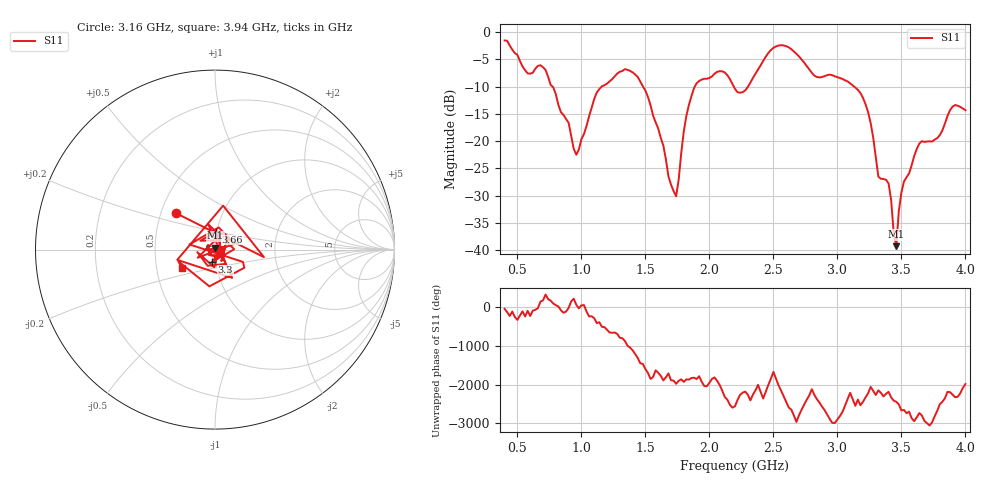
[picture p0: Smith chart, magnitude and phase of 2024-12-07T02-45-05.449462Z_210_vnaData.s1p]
!Created with skrf (http://scikit-rf.org).
# Hz S RI R 50.0
!freq ReS11 ImS11
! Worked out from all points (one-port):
!   181 points, 400 MHz to 4 GHz, reference 50 ohm
!   lowest |S11| = -39.2 dB at 3.46 GHz (marker M1), VSWR 1.02, Z = 50.2 + j1.08 ohm
!   |S11| at or under -10 dB: 774.2 MHz to 1.158 GHz (383.5 MHz wide, 39.7 % of centre); 1.481 GHz to 1.886 GHz (404.8 MHz wide, 24 % of centre); 3.131 GHz to end of sweep (the widest 3 of 4)
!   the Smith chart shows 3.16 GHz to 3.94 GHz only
!   S11 on the Smith chart (normalised r, x): 3.16 GHz: 0.60, +0.27; 3.3 GHz: 0.96, -0.13; 3.66 GHz: 0.99, +0.20; 3.94 GHz: 0.68, -0.15
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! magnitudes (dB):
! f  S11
! 400 MHz  -1.5
! 580 MHz  -7.6
! 720 MHz  -6.9
! 860 MHz  -15.2
! 960 MHz  -22.5
! 1.12 GHz  -11.1
! 1.3 GHz  -7.3
! 1.5 GHz  -10.7
! 1.7 GHz  -28.0
! 1.74 GHz  -30.1
! 1.76 GHz  -27.1
! 1.82 GHz  -15.4
! 1.9 GHz  -9.4
! 2.1 GHz  -7.2
! 2.2 GHz  -10.4
! 2.5 GHz  -2.9
! 2.66 GHz  -3.6
! 3.1 GHz  -9.4
! 3.16 GHz  -10.6
! 3.24 GHz  -14.7
! 3.3 GHz  -23.0
! 3.4 GHz  -27.8
! 3.46 GHz  -39.2
! 3.5 GHz  -29.4
! 3.56 GHz  -25.9
! 3.66 GHz  -20.0
! 3.94 GHz  -13.5
! 4 GHz  -14.3
